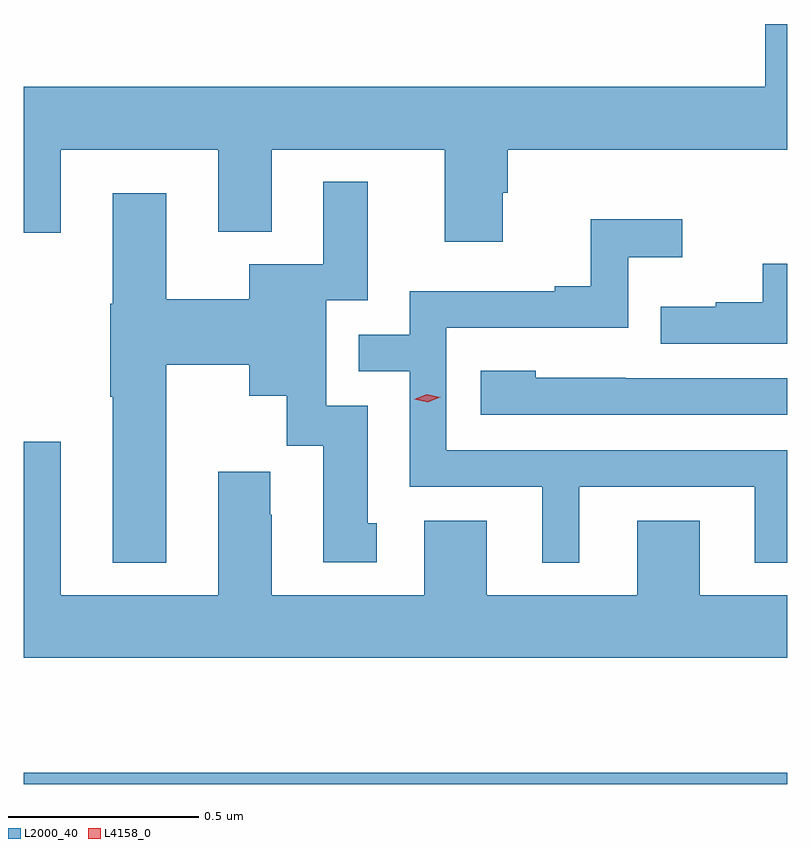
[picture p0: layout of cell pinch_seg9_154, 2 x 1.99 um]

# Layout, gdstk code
import gdstk
lib = gdstk.Library(unit=1e-6, precision=1e-09)
def R(c, l, rs):  # rectangles x0, y0, x1, y1
    for r in rs: c.add(gdstk.rectangle(r[:2], r[2:], *l))
def P(c, l, *ps):  # polygons
    for p in ps: c.add(gdstk.Polygon(p, *l))
L2000_40 = (2000, 40)
L4158_0 = (4158, 0)

pinch_seg9_154 = lib.new_cell('pinch_seg9_154')
R(pinch_seg9_154, L2000_40, [(719.754,1238.713,721.754,1238.743)])
P(pinch_seg9_154, L2000_40, [(721.009,1240.263),(721.022,1240.263),(721.022,1240.376),(721.754,1240.376),(721.754,1240.705),(721.697,1240.705),(721.697,1240.54),(719.754,1240.54),(719.754,1240.158),(719.851,1240.158),(719.851,1240.376),(720.263,1240.376),(720.263,1240.16),(720.403,1240.16),(720.403,1240.376),(720.857,1240.376),(720.857,1240.134),(721.009,1240.134)],
  [(720.127,1239.812),(720.344,1239.812),(720.344,1239.731),(720.443,1239.731),(720.443,1239.6),(720.539,1239.6),(720.539,1239.294),(720.679,1239.294),(720.679,1239.396),(720.655,1239.396),(720.655,1239.705),(720.546,1239.705),(720.546,1239.981),(720.655,1239.981),(720.655,1240.291),(720.539,1240.291),(720.539,1240.075),(720.344,1240.075),(720.344,1239.984),(720.127,1239.984),(720.127,1240.261),(719.987,1240.261),(719.987,1239.972),(719.98,1239.972),(719.98,1239.728),(719.987,1239.728),(719.987,1239.293),(720.127,1239.293)],
  [(721.21,1239.492),(721.67,1239.492),(721.67,1239.293),(721.754,1239.293),(721.754,1239.588),(720.861,1239.588),(720.861,1239.909),(721.338,1239.909),(721.338,1240.094),(721.48,1240.094),(721.48,1240.193),(721.24,1240.193),(721.24,1240.018),(721.145,1240.018),(721.145,1240.005),(720.765,1240.005),(720.765,1239.891),(720.632,1239.891),(720.632,1239.795),(720.765,1239.795),(720.765,1239.492),(721.112,1239.492),(721.112,1239.293),(721.21,1239.293)],
  [(721.754,1240.077),(721.691,1240.077),(721.691,1239.976),(721.567,1239.976),(721.567,1239.964),(721.423,1239.964),(721.423,1239.867),(721.754,1239.867)],
  [(721.754,1239.777),(721.331,1239.777),(721.331,1239.778),(721.095,1239.778),(721.095,1239.796),(720.951,1239.796),(720.951,1239.681),(721.754,1239.681)],
  [(721.754,1239.208),(721.525,1239.208),(721.525,1239.403),(721.361,1239.403),(721.361,1239.208),(720.967,1239.208),(720.967,1239.403),(720.803,1239.403),(720.803,1239.208),(720.403,1239.208),(720.403,1239.419),(720.4,1239.419),(720.4,1239.532),(720.263,1239.532),(720.263,1239.208),(719.851,1239.208),(719.851,1239.61),(719.754,1239.61),(719.754,1239.044),(721.754,1239.044)])
P(pinch_seg9_154, L4158_0, [(720.812,1239.714),(720.777,1239.722),(720.776,1239.722),(720.777,1239.722),(720.81,1239.734),(720.845,1239.727),(720.846,1239.727),(720.845,1239.727)])

lib.write_gds('pinch_seg9_154.gds')
